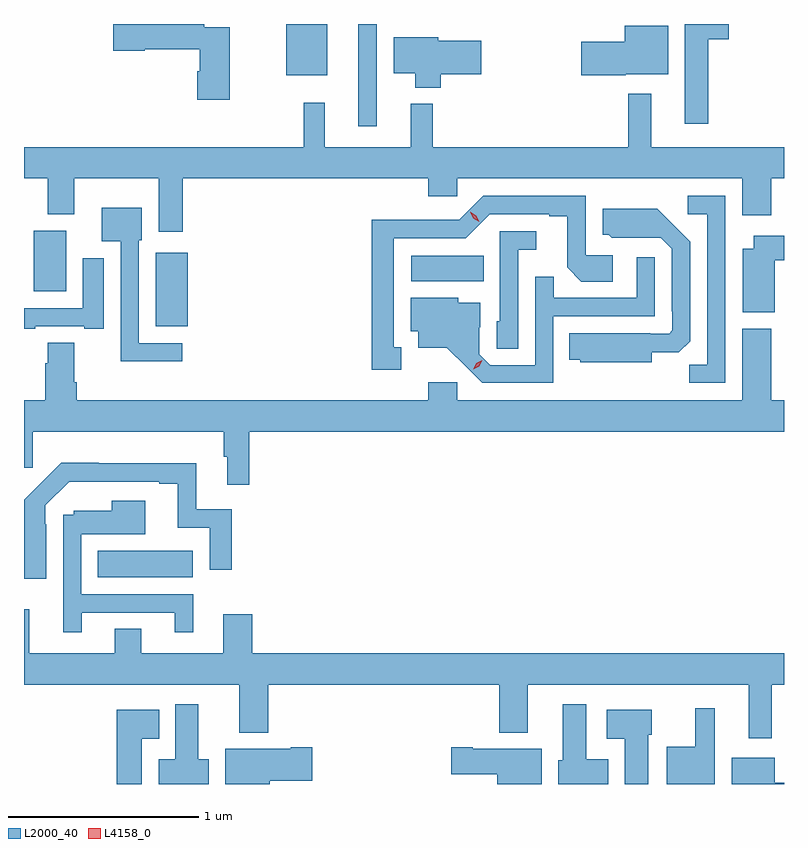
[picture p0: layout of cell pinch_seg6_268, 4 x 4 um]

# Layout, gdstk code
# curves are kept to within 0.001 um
import gdstk
lib = gdstk.Library(unit=1e-6, precision=1e-09)
def R(c, l, rs):  # rectangles x0, y0, x1, y1
    for r in rs: c.add(gdstk.rectangle(r[:2], r[2:], *l))
def P(c, l, *ps):  # polygons
    for p in ps: c.add(gdstk.Polygon(p, *l))
L2000_40 = (2000, 40)
L4158_0 = (4158, 0)

pinch_seg6_268 = lib.new_cell('pinch_seg6_268')
R(pinch_seg6_268, L2000_40, [(880.09,993.188,880.591,993.328), (880.397,994.511,880.564,994.897), (879.755,994.694,879.925,995.014), (881.742,994.748,882.122,994.882), (881.462,995.562,881.559,996.101), (881.084,995.831,881.299,996.101)])
P(pinch_seg6_268, L2000_40, [(880.786,996.084),(880.652,996.084),(880.652,996.101),(880.172,996.101),(880.172,995.96),(880.338,995.96),(880.338,995.968),(880.628,995.968),(880.628,995.853),(880.616,995.853),(880.616,995.703),(880.786,995.703)],
  [(883.303,996.02),(883.411,996.02),(883.411,996.101),(883.181,996.101),(883.181,995.577),(883.303,995.577)],
  [(882.87,995.837),(883.093,995.837),(883.093,996.091),(882.866,996.091),(882.866,996.008),(882.636,996.008),(882.636,995.83),(882.87,995.83)],
  [(881.897,995.836),(882.109,995.836),(882.109,996.014),(881.884,996.014),(881.884,996.031),(881.648,996.031),(881.648,995.843),(881.762,995.843),(881.762,995.765),(881.897,995.765)],
  [(880.538,995.288),(881.831,995.288),(881.831,995.195),(881.982,995.195),(881.982,995.288),(883.484,995.288),(883.484,995.094),(883.637,995.094),(883.637,995.288),(883.703,995.288),(883.703,995.452),(883.003,995.452),(883.003,995.734),(882.882,995.734),(882.882,995.452),(881.855,995.452),(881.855,995.68),(881.738,995.68),(881.738,995.452),(881.285,995.452),(881.285,995.686),(881.175,995.686),(881.175,995.452),(879.703,995.452),(879.703,995.288),(879.827,995.288),(879.827,995.099),(879.967,995.099),(879.967,995.288),(880.412,995.288),(880.412,995.007),(880.538,995.007)],
  [(881.689,994.401),(881.65,994.401),(881.65,994.974),(882.027,994.974),(882.153,995.1),(882.467,995.1),(882.467,995.088),(882.561,995.088),(882.561,994.82),(882.637,994.744),(882.802,994.744),(882.802,994.884),(882.66,994.884),(882.66,995.196),(882.12,995.196),(881.994,995.07),(881.772,995.07),(881.772,995.072),(881.532,995.072),(881.532,994.281),(881.689,994.281)],
  [(883.395,995.196),(883.197,995.196),(883.197,995.1),(883.299,995.1),(883.299,994.307),(883.204,994.307),(883.204,994.212),(883.395,994.212)],
  [(880.537,994.422),(880.308,994.422),(880.308,994.962),(880.324,994.962),(880.324,995.134),(880.112,995.134),(880.112,994.958),(880.212,994.958),(880.212,994.325),(880.537,994.325)],
  [(883.006,994.373),(883.15,994.373),(883.209,994.432),(883.209,994.954),(883.037,995.128),(882.749,995.128),(882.749,994.992),(882.78,994.992),(882.796,994.976),(883.053,994.977),(883.113,994.917),(883.113,994.588),(883.116,994.588),(883.116,994.488),(883.098,994.47),(882.998,994.47),(882.998,994.474),(882.574,994.474),(882.574,994.334),(882.63,994.334),(882.63,994.322),(883.006,994.322)],
  [(882.303,994.913),(882.4,994.913),(882.4,995.01),(882.207,995.01),(882.207,994.536),(882.192,994.536),(882.192,994.393),(882.303,994.393)],
  [(883.654,994.858),(883.703,994.858),(883.703,994.987),(883.544,994.987),(883.544,994.918),(883.487,994.918),(883.487,994.583),(883.654,994.583)],
  [(882.489,994.563),(883.023,994.563),(883.023,994.873),(882.927,994.873),(882.927,994.659),(882.491,994.659),(882.491,994.772),(882.393,994.772),(882.393,994.305),(882.156,994.305),(882.099,994.362),(882.099,994.504),(882.103,994.504),(882.103,994.633),(881.988,994.633),(881.988,994.66),(881.738,994.66),(881.738,994.484),(881.777,994.484),(881.777,994.397),(881.929,994.397),(882.116,994.212),(882.489,994.212)],
  [(879.763,994.509),(880.019,994.509),(880.019,994.497),(880.123,994.497),(880.123,994.867),(880.013,994.867),(880.013,994.605),(879.703,994.605),(879.703,994.497),(879.763,994.497)],
  [(880.889,993.956),(883.703,993.956),(883.703,994.12),(883.637,994.12),(883.637,994.498),(883.484,994.498),(883.484,994.12),(881.982,994.12),(881.982,994.216),(881.831,994.216),(881.831,994.12),(879.98,994.12),(879.98,994.216),(879.967,994.216),(879.967,994.424),(879.827,994.424),(879.827,994.316),(879.815,994.316),(879.815,994.12),(879.703,994.12),(879.703,993.765),(879.749,993.765),(879.749,993.956),(880.753,993.956),(880.753,993.824),(880.772,993.824),(880.772,993.675),(880.889,993.675)],
  [(879.82,993.467),(879.816,993.467),(879.816,993.567),(879.942,993.693),(880.415,993.693),(880.415,993.681),(880.511,993.681),(880.511,993.45),(880.68,993.45),(880.68,993.228),(880.796,993.228),(880.796,993.546),(880.609,993.546),(880.609,993.79),(880.097,993.79),(880.097,993.793),(879.898,993.793),(879.703,993.597),(879.703,993.182),(879.82,993.182)],
  [(880.006,993.003),(880.496,993.003),(880.496,992.901),(880.594,992.901),(880.594,993.099),(880.005,993.099),(880.005,993.416),(880.342,993.416),(880.342,993.592),(880.166,993.592),(880.166,993.538),(879.966,993.538),(879.966,993.519),(879.909,993.519),(879.909,992.901),(880.006,992.901)],
  [(883.639,992.624),(883.703,992.624),(883.703,992.788),(880.904,992.788),(880.904,992.995),(880.751,992.995),(880.751,992.788),(880.321,992.788),(880.321,992.918),(880.181,992.918),(880.181,992.788),(879.731,992.788),(879.731,993.022),(879.703,993.022),(879.703,992.624),(880.835,992.624),(880.835,992.372),(880.988,992.372),(880.988,992.624),(882.203,992.624),(882.203,992.372),(882.355,992.372),(882.355,992.624),(883.517,992.624),(883.517,992.343),(883.639,992.343)],
  [(880.675,992.23),(880.621,992.23),(880.621,992.521),(880.499,992.521),(880.499,992.23),(880.412,992.23),(880.412,992.101),(880.675,992.101)],
  [(882.778,992.23),(882.661,992.23),(882.661,992.521),(882.539,992.521),(882.539,992.226),(882.515,992.226),(882.515,992.101),(882.778,992.101)],
  [(883.339,992.5),(883.235,992.5),(883.235,992.296),(883.085,992.296),(883.085,992.101),(883.339,992.101)],
  [(880.324,992.339),(880.414,992.339),(880.414,992.491),(880.19,992.491),(880.19,992.101),(880.324,992.101)],
  [(882.988,992.361),(883.006,992.361),(883.006,992.491),(882.771,992.491),(882.771,992.339),(882.866,992.339),(882.866,992.101),(882.988,992.101)],
  [(882.427,992.287),(882.064,992.287),(882.064,992.295),(881.952,992.295),(881.952,992.153),(882.194,992.153),(882.194,992.101),(882.427,992.101)],
  [(880.996,992.117),(881.221,992.117),(881.221,992.295),(881.108,992.295),(881.108,992.287),(880.763,992.287),(880.763,992.101),(880.996,992.101)],
  [(883.703,992.108),(883.654,992.108),(883.654,992.239),(883.427,992.239),(883.427,992.101),(883.703,992.101)])
P(pinch_seg6_268, L4158_0, [(882.067,994.284),(882.067,994.285),(882.084,994.315),(882.114,994.33),(882.114,994.33),(882.114,994.33),(882.098,994.3),(882.067,994.284)],
  [(882.099,995.06),(882.068,995.079),(882.051,995.112),(882.051,995.112),(882.051,995.112),(882.083,995.093),(882.1,995.06),(882.1,995.06)])

lib.write_gds('pinch_seg6_268.gds')
